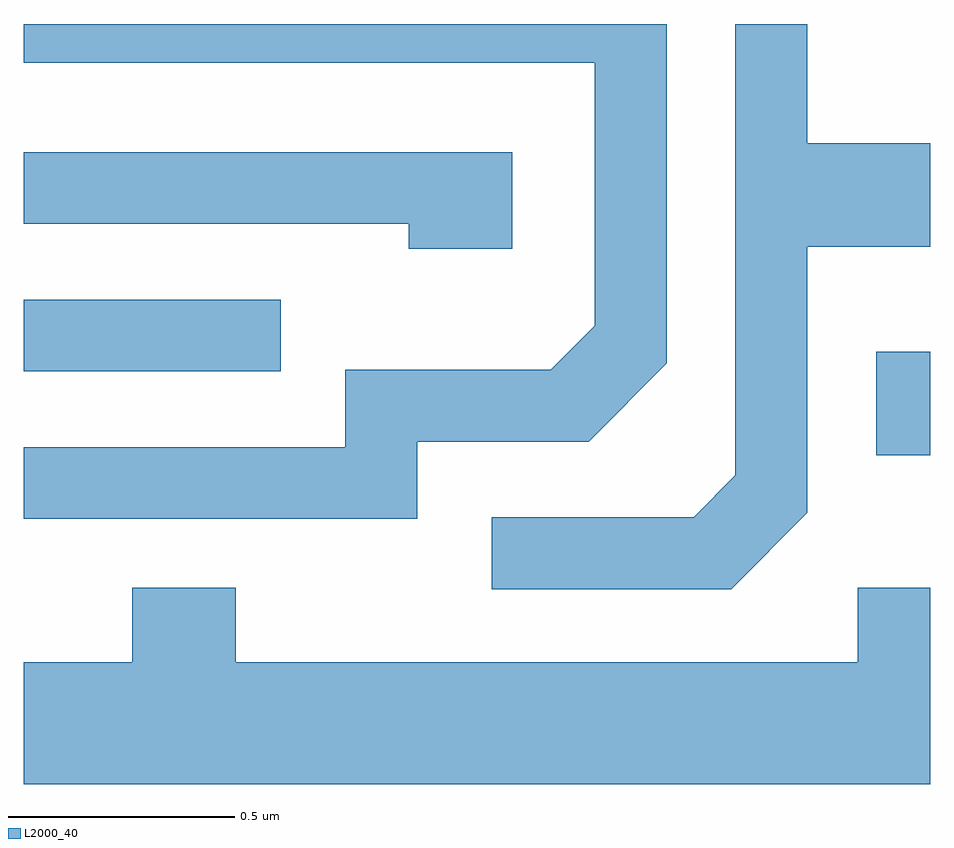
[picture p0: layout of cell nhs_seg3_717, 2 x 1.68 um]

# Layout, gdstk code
import gdstk
lib = gdstk.Library(unit=1e-6, precision=1e-09)
def R(c, l, rs):  # rectangles x0, y0, x1, y1
    for r in rs: c.add(gdstk.rectangle(r[:2], r[2:], *l))
def P(c, l, *ps):  # polygons
    for p in ps: c.add(gdstk.Polygon(p, *l))
L2000_40 = (2000, 40)

nhs_seg3_717 = lib.new_cell('nhs_seg3_717')
R(nhs_seg3_717, L2000_40, [(192.491,1148.941,192.611,1149.169), (190.611,1149.126,191.178,1149.284)])
P(nhs_seg3_717, L2000_40, [(192.339,1148.814),(192.339,1149.401),(192.611,1149.401),(192.611,1149.629),(192.339,1149.629),(192.339,1149.892),(192.181,1149.892),(192.181,1148.897),(192.089,1148.804),(191.643,1148.804),(191.643,1148.646),(192.172,1148.646)],
  [(191.479,1148.971),(191.857,1148.971),(192.029,1149.144),(192.029,1149.892),(190.611,1149.892),(190.611,1149.806),(191.871,1149.806),(191.871,1149.227),(191.774,1149.129),(191.321,1149.129),(191.321,1148.959),(190.611,1148.959),(190.611,1148.801),(191.479,1148.801)],
  [(191.689,1149.609),(190.611,1149.609),(190.611,1149.451),(191.461,1149.451),(191.461,1149.396),(191.689,1149.396)],
  [(192.611,1148.649),(192.451,1148.649),(192.451,1148.484),(191.079,1148.484),(191.079,1148.649),(190.851,1148.649),(190.851,1148.484),(190.611,1148.484),(190.611,1148.216),(192.611,1148.216)])

lib.write_gds('nhs_seg3_717.gds')
